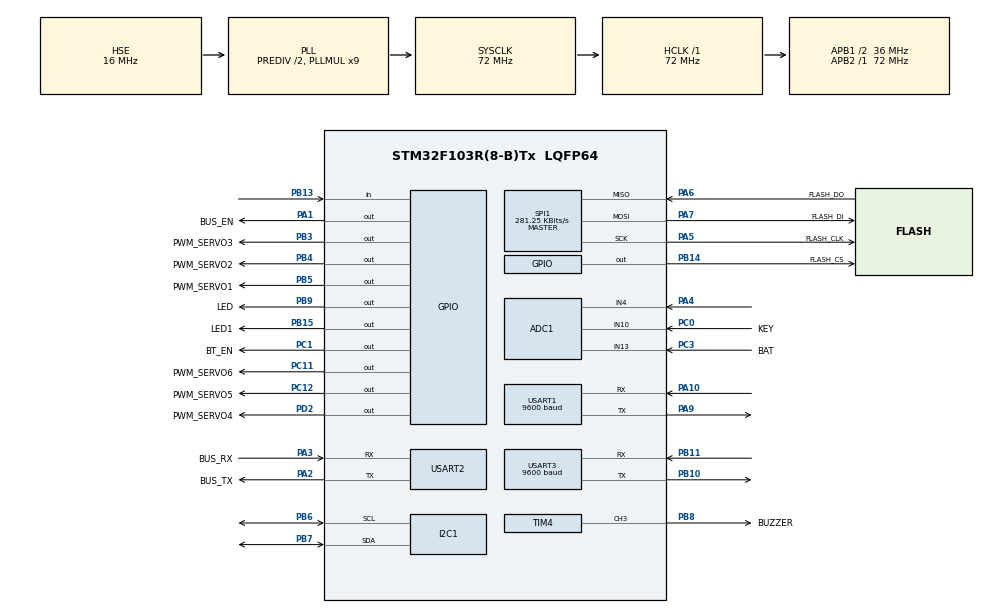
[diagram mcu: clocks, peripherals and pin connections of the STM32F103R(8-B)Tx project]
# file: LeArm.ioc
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ADC1.Channel-0\#ChannelRegularConversion=ADC_CHANNEL_13
ADC1.Channel-1\#ChannelRegularConversion=ADC_CHANNEL_10
ADC1.Channel-2\#ChannelRegularConversion=ADC_CHANNEL_4
ADC1.ContinuousConvMode=DISABLE
ADC1.DataAlign=ADC_DATAALIGN_RIGHT
ADC1.NbrOfConversion=3
ADC1.NbrOfConversionFlag=1
ADC1.Rank-0\#ChannelRegularConversion=1
ADC1.Rank-1\#ChannelRegularConversion=2
ADC1.Rank-2\#ChannelRegularConversion=3
ADC1.SamplingTime-0\#ChannelRegularConversion=ADC_SAMPLETIME_239CYCLES_5
ADC1.SamplingTime-1\#ChannelRegularConversion=ADC_SAMPLETIME_239CYCLES_5
ADC1.SamplingTime-2\#ChannelRegularConversion=ADC_SAMPLETIME_239CYCLES_5
ADC1.master=1
Dma.ADC1.1.Direction=DMA_PERIPH_TO_MEMORY
Dma.ADC1.1.Instance=DMA1_Channel1
Dma.ADC1.1.MemDataAlignment=DMA_MDATAALIGN_HALFWORD
Dma.ADC1.1.MemInc=DMA_MINC_ENABLE
Dma.ADC1.1.Mode=DMA_CIRCULAR
Dma.ADC1.1.PeriphDataAlignment=DMA_PDATAALIGN_HALFWORD
Dma.ADC1.1.PeriphInc=DMA_PINC_DISABLE
Dma.ADC1.1.Priority=DMA_PRIORITY_LOW
Dma.I2C1_RX.2.Direction=DMA_PERIPH_TO_MEMORY
Dma.I2C1_RX.2.Instance=DMA1_Channel7
Dma.I2C1_RX.2.MemDataAlignment=DMA_MDATAALIGN_BYTE
Dma.I2C1_RX.2.MemInc=DMA_MINC_ENABLE
Dma.I2C1_RX.2.Mode=DMA_NORMAL
Dma.I2C1_RX.2.PeriphDataAlignment=DMA_PDATAALIGN_BYTE
Dma.I2C1_RX.2.PeriphInc=DMA_PINC_DISABLE
Dma.I2C1_RX.2.Priority=DMA_PRIORITY_VERY_HIGH
Dma.Request0=USART1_RX
Dma.Request1=ADC1
Dma.Request2=I2C1_RX
Dma.Request3=USART3_RX
Dma.USART1_RX.0.Direction=DMA_PERIPH_TO_MEMORY
Dma.USART1_RX.0.Instance=DMA1_Channel5
Dma.USART1_RX.0.MemDataAlignment=DMA_MDATAALIGN_BYTE
Dma.USART1_RX.0.MemInc=DMA_MINC_ENABLE
Dma.USART1_RX.0.Mode=DMA_NORMAL
Dma.USART1_RX.0.PeriphDataAlignment=DMA_PDATAALIGN_BYTE
Dma.USART1_RX.0.PeriphInc=DMA_PINC_DISABLE
Dma.USART1_RX.0.Priority=DMA_PRIORITY_LOW
Dma.USART3_RX.3.Direction=DMA_PERIPH_TO_MEMORY
Dma.USART3_RX.3.Instance=DMA1_Channel3
Dma.USART3_RX.3.MemDataAlignment=DMA_MDATAALIGN_BYTE
Dma.USART3_RX.3.MemInc=DMA_MINC_ENABLE
Dma.USART3_RX.3.Mode=DMA_NORMAL
Dma.USART3_RX.3.PeriphDataAlignment=DMA_PDATAALIGN_BYTE
Dma.USART3_RX.3.PeriphInc=DMA_PINC_DISABLE
Dma.USART3_RX.3.Priority=DMA_PRIORITY_LOW
I2C1.I2C_Mode=I2C_Standard
Mcu.Family=STM32F1
Mcu.Name=STM32F103R(8-B)Tx
Mcu.Package=LQFP64
NVIC.DMA1_Channel1_IRQn=true\:0\:0\:false\:false\:true\:false\:true\:true
NVIC.DMA1_Channel3_IRQn=true\:0\:0\:false\:false\:true\:false\:true\:true
NVIC.DMA1_Channel5_IRQn=true\:0\:0\:false\:false\:true\:false\:true\:true
NVIC.DMA1_Channel7_IRQn=true\:0\:0\:false\:true\:true\:4\:false\:true\:true
NVIC.I2C1_EV_IRQn=true\:0\:0\:false\:false\:true\:true\:true\:true
NVIC.PriorityGroup=NVIC_PRIORITYGROUP_4
NVIC.TIM3_IRQn=true\:0\:0\:true\:false\:true\:true\:false\:true
NVIC.USART1_IRQn=true\:3\:0\:true\:true\:true\:1\:true\:true\:true
NVIC.USART2_IRQn=true\:2\:0\:true\:true\:true\:2\:true\:false\:true
NVIC.USART3_IRQn=true\:1\:0\:true\:true\:true\:3\:true\:true\:true
PA1.GPIO_Label=BUS_EN
PA1.GPIO_Speed=GPIO_SPEED_FREQ_HIGH
PA1.PinState=GPIO_PIN_SET
PA1.Signal=GPIO_Output
PA10.Mode=Asynchronous
PA10.Signal=USART1_RX
PA13.Mode=Serial_Wire
PA13.Signal=SYS_JTMS-SWDIO
PA14.Mode=Serial_Wire
PA14.Signal=SYS_JTCK-SWCLK
PA2.GPIO_Label=BUS_TX
PA2.Mode=Asynchronous
PA2.Signal=USART2_TX
PA3.GPIO_Label=BUS_RX
PA3.Mode=Asynchronous
PA3.Signal=USART2_RX
PA4.Signal=ADCx_IN4
PA5.GPIO_Label=FLASH_CLK
PA5.GPIO_Speed=GPIO_SPEED_FREQ_HIGH
PA5.Mode=Full_Duplex_Master
PA5.Signal=SPI1_SCK
PA6.GPIO_Label=FLASH_DO
PA6.GPIO_PuPd=GPIO_NOPULL
PA6.Mode=Full_Duplex_Master
PA6.Signal=SPI1_MISO
PA7.GPIO_Label=FLASH_DI
PA7.GPIO_Speed=GPIO_SPEED_FREQ_HIGH
PA7.Mode=Full_Duplex_Master
PA7.Signal=SPI1_MOSI
PA9.Mode=Asynchronous
PA9.Signal=USART1_TX
PB10.Mode=Asynchronous
PB10.Signal=USART3_TX
PB11.Mode=Asynchronous
PB11.Signal=USART3_RX
PB13.Signal=GPIO_Input
PB14.GPIO_Label=FLASH_CS
PB14.GPIO_PuPd=GPIO_PULLUP
PB14.GPIO_Speed=GPIO_SPEED_FREQ_LOW
PB14.PinState=GPIO_PIN_SET
PB14.Signal=GPIO_Output
PB15.GPIO_Label=LED1
PB15.PinState=GPIO_PIN_SET
PB15.Signal=GPIO_Output
PB3.GPIO_Label=PWM_SERVO3
PB3.GPIO_Speed=GPIO_SPEED_FREQ_HIGH
PB3.Signal=GPIO_Output
PB4.GPIO_Label=PWM_SERVO2
PB4.GPIO_Speed=GPIO_SPEED_FREQ_HIGH
PB4.Signal=GPIO_Output
PB5.GPIO_Label=PWM_SERVO1
PB5.GPIO_Speed=GPIO_SPEED_FREQ_HIGH
PB5.Signal=GPIO_Output
PB6.Mode=I2C
PB6.Signal=I2C1_SCL
PB7.Mode=I2C
PB7.Signal=I2C1_SDA
PB8.GPIO_Label=BUZZER
PB8.Signal=S_TIM4_CH3
PB9.GPIO_Label=LED
PB9.GPIO_ModeDefaultOutputPP=GPIO_MODE_OUTPUT_PP
PB9.GPIO_PuPd=GPIO_PULLUP
PB9.PinState=GPIO_PIN_SET
PB9.Signal=GPIO_Output
PC0.GPIO_Label=KEY
PC0.Signal=ADCx_IN10
PC1.GPIO_Label=BT_EN
PC1.GPIO_ModeDefaultOutputPP=GPIO_MODE_OUTPUT_PP
PC1.GPIO_PuPd=GPIO_NOPULL
PC1.GPIO_Speed=GPIO_SPEED_FREQ_LOW
PC1.PinState=GPIO_PIN_SET
PC1.Signal=GPIO_Output
PC11.GPIO_Label=PWM_SERVO6
PC11.GPIO_Speed=GPIO_SPEED_FREQ_HIGH
PC11.Signal=GPIO_Output
PC12.GPIO_Label=PWM_SERVO5
PC12.GPIO_Speed=GPIO_SPEED_FREQ_HIGH
PC12.Signal=GPIO_Output
PC3.GPIO_Label=BAT
PC3.Signal=ADCx_IN13
PD0-OSC_IN.Mode=HSE-External-Oscillator
PD0-OSC_IN.Signal=RCC_OSC_IN
PD1-OSC_OUT.Mode=HSE-External-Oscillator
PD1-OSC_OUT.Signal=RCC_OSC_OUT
PD2.GPIO_Label=PWM_SERVO4
PD2.GPIO_Speed=GPIO_SPEED_FREQ_HIGH
PD2.Signal=GPIO_Output
ProjectManager.HeapSize=0x200
ProjectManager.StackSize=0x400
ProjectManager.TargetToolchain=MDK-ARM V5.32
RCC.ADCPresc=RCC_ADCPCLK2_DIV6
RCC.AHBFreq_Value=72000000
RCC.APB1CLKDivider=RCC_HCLK_DIV2
RCC.APB1Freq_Value=36000000
RCC.APB1TimFreq_Value=72000000
RCC.APB2Freq_Value=72000000
RCC.APB2TimFreq_Value=72000000
RCC.HCLKFreq_Value=72000000
RCC.HSEDivPLL=RCC_HSE_PREDIV_DIV2
RCC.HSE_VALUE=16000000
RCC.PLLMUL=RCC_PLL_MUL9
RCC.PLLSourceVirtual=RCC_PLLSOURCE_HSE
RCC.SYSCLKFreq_VALUE=72000000
RCC.SYSCLKSource=RCC_SYSCLKSOURCE_PLLCLK
RCC.USBFreq_Value=72000000
SH.ADCx_IN10.0=ADC1_IN10,IN10
SH.ADCx_IN13.0=ADC1_IN13,IN13
SH.ADCx_IN4.0=ADC1_IN4,IN4
SH.S_TIM4_CH3.0=TIM4_CH3,PWM Generation3 CH3
SPI1.BaudRatePrescaler=SPI_BAUDRATEPRESCALER_256
SPI1.CLKPhase=SPI_PHASE_1EDGE
SPI1.CLKPolarity=SPI_POLARITY_LOW
SPI1.CRCCalculation=SPI_CRCCALCULATION_DISABLE
SPI1.CalculateBaudRate=281.25 KBits/s
SPI1.Direction=SPI_DIRECTION_2LINES
SPI1.Mode=SPI_MODE_MASTER
SPI1.VirtualType=VM_MASTER
TIM3.AutoReloadPreload=TIM_AUTORELOAD_PRELOAD_ENABLE
TIM3.Channel-Output\ Compare1\ No\ Output=TIM_CHANNEL_1
TIM3.Channel-Output\ Compare2\ No\ Output=TIM_CHANNEL_2
TIM3.OC1Preload=DISABLE
TIM3.OCMode_1=TIM_OCMODE_TIMING
TIM3.Period=4999
TIM3.Prescaler=71
TIM3.Pulse-Output\ Compare1\ No\ Output=0
TIM4.AutoReloadPreload=TIM_AUTORELOAD_PRELOAD_ENABLE
TIM4.Channel-PWM\ Generation3\ CH3=TIM_CHANNEL_3
TIM4.Period=4999
TIM4.Prescaler=71
USART1.BaudRate=9600
USART1.VirtualMode=VM_ASYNC
USART2.VirtualMode=VM_ASYNC
USART3.BaudRate=9600
USART3.Mode=MODE_RX
USART3.VirtualMode=VM_ASYNC
VP_TIM3_VS_ClockSourceINT.Mode=Internal
VP_TIM3_VS_no_output1.Mode=Output Compare1 No Output
VP_TIM3_VS_no_output2.Mode=Output Compare2 No Output
board=custom

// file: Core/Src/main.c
/* USER CODE BEGIN Header */
/**
  ******************************************************************************
  * @file           : main.c
  * @brief          : Main program body
  ******************************************************************************
  * @attention
  *
  * Copyright (c) 2024 STMicroelectronics.
  * All rights reserved.
  *
  * in the root directory of this software component.
  * If no LICENSE file comes with this software, it is provided AS-IS.
  *
  ******************************************************************************
  */
/* USER CODE END Header */
#include "main.h"
#include "adc.h"
#include "dma.h"
#include "i2c.h"
#include "spi.h"
#include "tim.h"
#include "usart.h"
#include "gpio.h"

/* USER CODE BEGIN Includes */

#include "global.h"
#include "stdio.h"
#include "stdlib.h"
#include "led.h"
#include "buzzer.h"
#include "robot_arm.h"
#include "wonder_mv.h"
#include "ps2_porting.h"
#include "adc_sample.h"

/* USER CODE END Includes */

/* USER CODE BEGIN PTD */
typedef enum
{
	TRACK_STATE_DETECTION = 0,
	TRACK_STATE_TRACK_Y,
	TRACK_STATE_TRACK_X,
	TRACK_STATE_APPROACH,
	TRACK_STATE_GRAB_DOWN,
	TRACK_STATE_CLAW_CLOSE,
	TRACK_STATE_LIFT,
	TRACK_STATE_PUT_BACK_DOWN,
	TRACK_STATE_CLAW_OPEN,
	TRACK_STATE_RELEASE_LIFT,
	TRACK_STATE_RETURN
} TrackStateTypeDef;

typedef enum
{
	TARGET_COLOR = 0,
	TARGET_NUMBER
} TargetKindTypeDef;

RecognitionHanleTypeDef color_results[COLOR_RESULT_COUNT];
RecognitionHanleTypeDef number_results[NUMBER_RESULT_COUNT];
RecognitionHanleTypeDef vision_result;
/* USER CODE END PTD */

/* USER CODE BEGIN PD */
#define COLOR_ID_RED                    1U
#define COLOR_ID_GREEN                  2U
#define COLOR_ID_BLUE                   3U

#define KEY_DEBOUNCE_MS                50U
#define LED1_FLASH_ON_MS              300U
#define LED1_FLASH_OFF_MS             300U
#define NUMBER_LED_FLASH_ON_MS        300U
#define NUMBER_LED_FLASH_OFF_MS       300U
#define NUMBER_BUZZER_ON_MS           100U
#define NUMBER_BUZZER_OFF_MS          100U
#define NUMBER_BUZZER_TIMES             2U

#define VISION_CAPTURE_X_CM            15.0f
#define VISION_CAPTURE_Y_CM             0.0f
#define VISION_CAPTURE_Z_CM            -3.0f

#define VISION_X_CM_PER_PIXEL          -0.100f
#define VISION_Y_CM_PER_PIXEL          -0.050f
#define CAMERA_TO_CLAW_X_OFFSET_CM       7.0f //夹爪偏移量已修正，勿更改
#define CAMERA_TO_CLAW_Y_OFFSET_CM       0.0f

#define VISION_APPROACH_Z_CM            2.0f
#define VISION_GRAB_Z_CM              -14.0f
#define VISION_TARGET_MIN_X_CM         10.0f
#define VISION_TARGET_MAX_X_CM         20.0f
#define VISION_TARGET_MIN_Y_CM        -10.0f
#define VISION_TARGET_MAX_Y_CM         10.0f

#define TRACK_CENTER_X                160.0f
#define TRACK_CENTER_Y                120.0f
#define TRACK_DEADBAND_X_PX             8.0f
#define TRACK_DEADBAND_Y_PX             8.0f
#define TRACK_STABLE_FRAMES             3U
#define TRACK_LOST_MAX_FRAMES          10U
#define TRACK_CORRECTION_GAIN           0.30f
#define TRACK_MAX_STEP_X_CM             0.5f
#define TRACK_MAX_STEP_Y_CM             0.5f

#define CLAW_OPEN_ANGLE                90.0f
#define CLAW_CLOSE_ANGLE                0.0f
/* USER CODE END PD */

/* USER CODE BEGIN PV */
TrackStateTypeDef fsm_state = TRACK_STATE_DETECTION;
TargetKindTypeDef current_target = TARGET_COLOR;
uint8_t selected_color_id = COLOR_ID_RED;
uint8_t selected_number_id = 1U;
uint8_t stable_count;
uint8_t lost_count;
uint8_t tracking_step_count;
uint8_t last_chassis_mode;
uint8_t key_last_raw_state;
uint8_t key_stable_state;
uint32_t key_last_change_tick;
float target_x;
float target_y;
float grab_x;
float grab_y;
/* USER CODE END PV */

void SystemClock_Config(void);
static void MX_NVIC_Init(void);

/* USER CODE BEGIN 0 */
int fputc(int ch,FILE *f)
{
	/* 采用轮询方式发鿿1字节数据，超时时间设置为无限等待 */
	HAL_UART_Transmit(&huart1,(uint8_t *)&ch,1,HAL_MAX_DELAY);
	return ch;
}

static float clamp_float(float value, float min_value, float max_value)
{
	if(value < min_value)
	{
		return min_value;
	}
	if(value > max_value)
	{
		return max_value;
	}
	return value;
}

static void clear_recognition_result(RecognitionHanleTypeDef* result)
{
	result->id = 0;
	result->position.x = 0;
	result->position.y = 0;
	result->position.w = 0;
	result->position.h = 0;
}

static void reset_tracking_state(void)
{
	for(uint8_t i = 0; i < COLOR_RESULT_COUNT; i++)
	{
		clear_recognition_result(&color_results[i]);
	}
	for(uint8_t i = 0; i < NUMBER_RESULT_COUNT; i++)
	{
		clear_recognition_result(&number_results[i]);
	}
	clear_recognition_result(&vision_result);
	stable_count = 0;
	lost_count = 0;
	tracking_step_count = 0;
	target_x = VISION_CAPTURE_X_CM;
	target_y = VISION_CAPTURE_Y_CM;
	grab_x = VISION_CAPTURE_X_CM;
	grab_y = VISION_CAPTURE_Y_CM;
}

static void reset_tracking_sequence(void)
{
	current_target = TARGET_COLOR;
	reset_tracking_state();
}

static void move_to_capture_pose(uint32_t time_ms)
{
	robot_arm_coordinate_set(VISION_CAPTURE_X_CM, VISION_CAPTURE_Y_CM, VISION_CAPTURE_Z_CM, 0, -90, 90, time_ms);
}

static void update_grab_target(void)
{
	grab_x = clamp_float(target_x + CAMERA_TO_CLAW_X_OFFSET_CM, VISION_TARGET_MIN_X_CM, VISION_TARGET_MAX_X_CM);
	grab_y = clamp_float(target_y + CAMERA_TO_CLAW_Y_OFFSET_CM, VISION_TARGET_MIN_Y_CM, VISION_TARGET_MAX_Y_CM);
}

static void update_selected_color_led(void)
{
	switch(selected_color_id)
	{
		case COLOR_ID_RED:
			led_on(2);
			break;

		case COLOR_ID_GREEN:
			led_flash(2, LED1_FLASH_ON_MS, LED1_FLASH_OFF_MS, 0);
			break;

		case COLOR_ID_BLUE:
			led_off(2);
			break;

		default:
			selected_color_id = COLOR_ID_RED;
			led_on(2);
			break;
	}
}

static void update_selected_number_indicator(uint8_t play_buzzer)
{
	switch(selected_number_id)
	{
		case 1:
			led_on(1);
			if(play_buzzer)
			{
				buzzer_off();
			}
			break;

		case 2:
			led_flash(1, NUMBER_LED_FLASH_ON_MS, NUMBER_LED_FLASH_OFF_MS, 0);
			if(play_buzzer)
			{
				buzzer_off();
			}
			break;

		case 3:
			led_off(1);
			if(play_buzzer)
			{
				buzzer_off();
			}
			break;

		case 4:
			led_on(1);
			if(play_buzzer)
			{
				buzzer_toggle(NUMBER_BUZZER_ON_MS, NUMBER_BUZZER_OFF_MS, NUMBER_BUZZER_TIMES);
			}
			break;

		case 5:
			led_flash(1, NUMBER_LED_FLASH_ON_MS, NUMBER_LED_FLASH_OFF_MS, 0);
			if(play_buzzer)
			{
				buzzer_toggle(NUMBER_BUZZER_ON_MS, NUMBER_BUZZER_OFF_MS, NUMBER_BUZZER_TIMES);
			}
			break;

		default:
			selected_number_id = 1U;
			led_on(1);
			if(play_buzzer)
			{
				buzzer_off();
			}
			break;
	}
}

static void select_next_color(void)
{
	switch(selected_color_id)
	{
		case COLOR_ID_RED:
			selected_color_id = COLOR_ID_GREEN;
			break;

		case COLOR_ID_GREEN:
			selected_color_id = COLOR_ID_BLUE;
			break;

		default:
			selected_color_id = COLOR_ID_RED;
			break;
	}

	update_selected_color_led();
}

static void select_next_number(void)
{
	selected_number_id++;
	if(selected_number_id > NUMBER_RESULT_COUNT)
	{
		selected_number_id = 1U;
	}

	update_selected_number_indicator(1);
}

static void scan_adc_key_select(void)
{
	uint8_t raw_state = get_button_state();
	uint32_t now = HAL_GetTick();

	if(raw_state != key_last_raw_state)
	{
		key_last_raw_state = raw_state;
		key_last_change_tick = now;
	}

	if((now - key_last_change_tick) >= KEY_DEBOUNCE_MS && raw_state != key_stable_state)
	{
		key_stable_state = raw_state;
		if(key_stable_state == 1U)
		{
			select_next_color();
		}
		else if(key_stable_state == 2U)
		{
			select_next_number();
		}
	}
}

static uint8_t is_valid_number_id(uint8_t id)
{
	return id >= 1U && id <= 5U;
}

static uint8_t is_valid_color_id(uint8_t id)
{
	return id >= COLOR_ID_RED && id <= COLOR_ID_BLUE;
}

static uint8_t read_current_target(void)
{
	if(ps2_is_chassis_mode())
	{
		return 0;
	}

	if(!wonder_mv_color_number_recognition(color_results, number_results))
	{
		return 0;
	}

	if(current_target == TARGET_COLOR)
	{
		if(!is_valid_color_id(selected_color_id))
		{
			selected_color_id = COLOR_ID_RED;
		}

		if(color_results[selected_color_id - 1U].id != selected_color_id)
		{
			return 0;
		}

		vision_result = color_results[selected_color_id - 1U];
		return 1;
	}

	if(!is_valid_number_id(selected_number_id))
	{
		selected_number_id = 1U;
	}

	if(number_results[selected_number_id - 1U].id == selected_number_id)
	{
		vision_result = number_results[selected_number_id - 1U];
		return 1;
	}

	return 0;
}

static void advance_to_next_target(void)
{
	if(current_target == TARGET_COLOR)
	{
		current_target = TARGET_NUMBER;
	}
	else
	{
		current_target = TARGET_COLOR;
	}

	reset_tracking_state();
}

static void handle_tracking_loss(void)
{
	stable_count = 0;

	if(tracking_step_count > 0U)
	{
		lost_count = 0;
		update_grab_target();
		fsm_state = TRACK_STATE_APPROACH;
		return;
	}

	lost_count++;

	if(lost_count >= TRACK_LOST_MAX_FRAMES)
	{
		reset_tracking_state();
		move_to_capture_pose(500);
		HAL_Delay(600);
		fsm_state = TRACK_STATE_DETECTION;
	}
	else
	{
		HAL_Delay(20);
	}
}

/* USER CODE END 0 */

int main(void)
{

  /* MCU Configuration--------------------------------------------------------*/

  /* Reset of all peripherals, Initializes the Flash interface and the Systick. */
  HAL_Init();

  /* Configure the system clock */
  SystemClock_Config();

  /* USER CODE BEGIN SysInit */
  __HAL_RCC_I2C1_CLK_ENABLE();
  __HAL_RCC_DMA1_CLK_ENABLE();
  /* USER CODE END SysInit */

  /* Initialize all configured peripherals */
  MX_GPIO_Init();
  MX_DMA_Init();
  MX_TIM3_Init();
  MX_USART3_UART_Init();
  MX_SPI1_Init();
  MX_USART1_UART_Init();
  MX_ADC1_Init();
  MX_I2C1_Init();
  MX_TIM4_Init();
  MX_USART2_UART_Init();

  /* Initialize interrupts */
  MX_NVIC_Init();
  /* USER CODE BEGIN 2 */
  adc_sample_init();
  adc_sample_handler();
  led_init();
  key_last_raw_state = get_button_state();
  key_stable_state = key_last_raw_state;
  key_last_change_tick = HAL_GetTick();
  update_selected_color_led();
  update_selected_number_indicator(0);
  robot_arm_init();
  buzzer_init();
  wonder_mv_init();
  ps2_init();
  reset_tracking_sequence();
  move_to_capture_pose(500);
  robot_arm_claw_set(CLAW_OPEN_ANGLE, 0);
  HAL_Delay(1000);
  /* USER CODE END 2 */

  /* Infinite loop */
  while (1)
  {

    /* USER CODE BEGIN 3 */
	uint8_t chassis_mode;

	ps2_handler();
	chassis_mode = ps2_is_chassis_mode();
	if(chassis_mode)
	{
		if(!last_chassis_mode)
		{
			i2c1_recover();
			reset_tracking_state();
			fsm_state = TRACK_STATE_DETECTION;
			last_chassis_mode = 1;
		}
		HAL_Delay(10);
		continue;
	}

	if(last_chassis_mode)
	{
		i2c1_recover();
		HAL_Delay(100);
		reset_tracking_state();
		fsm_state = TRACK_STATE_DETECTION;
		last_chassis_mode = 0;
	}

	switch(fsm_state)
	{
	  case TRACK_STATE_DETECTION:
		  scan_adc_key_select();
		  if(read_current_target())
		  {
			  HAL_Delay(100);
			  if(read_current_target())
			  {
				  target_x = VISION_CAPTURE_X_CM;
				  target_y = VISION_CAPTURE_Y_CM;
				  stable_count = 0;
				  lost_count = 0;
				  tracking_step_count = 0;
				  fsm_state = TRACK_STATE_TRACK_Y;
			  }
		  }
		  HAL_Delay(10);
		  break;

	  case TRACK_STATE_TRACK_Y:
	  {
		  float pixel_dx;
		  float step_y;

		  if(!read_current_target())
		  {
			  handle_tracking_loss();
			  break;
		  }

		  lost_count = 0;
		  pixel_dx = (float)vision_result.position.x - TRACK_CENTER_X;

		  if(pixel_dx >= -TRACK_DEADBAND_X_PX && pixel_dx <= TRACK_DEADBAND_X_PX)
		  {
			  stable_count++;
			  if(stable_count >= TRACK_STABLE_FRAMES)
			  {
				  stable_count = 0;
				  fsm_state = TRACK_STATE_TRACK_X;
			  }
			  HAL_Delay(20);
			  break;
		  }

		  stable_count = 0;
		  step_y = pixel_dx * VISION_Y_CM_PER_PIXEL * TRACK_CORRECTION_GAIN;
		  step_y = clamp_float(step_y, -TRACK_MAX_STEP_Y_CM, TRACK_MAX_STEP_Y_CM);
		  target_y = clamp_float(target_y + step_y, VISION_TARGET_MIN_Y_CM, VISION_TARGET_MAX_Y_CM);
		  if(tracking_step_count < 255U)
		  {
			  tracking_step_count++;
		  }
		  robot_arm_coordinate_set(target_x, target_y, VISION_CAPTURE_Z_CM, 0, -90, 90, 80);
		  HAL_Delay(90);
		  break;
	  }

	  case TRACK_STATE_TRACK_X:
	  {
		  float pixel_dy;
		  float step_x;

		  if(!read_current_target())
		  {
			  handle_tracking_loss();
			  break;
		  }

		  lost_count = 0;
		  pixel_dy = (float)vision_result.position.y - TRACK_CENTER_Y;

		  if(pixel_dy >= -TRACK_DEADBAND_Y_PX && pixel_dy <= TRACK_DEADBAND_Y_PX)
		  {
			  stable_count++;
			  if(stable_count >= TRACK_STABLE_FRAMES)
			  {
				  update_grab_target();
				  fsm_state = TRACK_STATE_APPROACH;
			  }
			  HAL_Delay(20);
			  break;
		  }

		  stable_count = 0;
		  step_x = pixel_dy * VISION_X_CM_PER_PIXEL * TRACK_CORRECTION_GAIN;
		  step_x = clamp_float(step_x, -TRACK_MAX_STEP_X_CM, TRACK_MAX_STEP_X_CM);
		  target_x = clamp_float(target_x + step_x, VISION_TARGET_MIN_X_CM, VISION_TARGET_MAX_X_CM);
		  if(tracking_step_count < 255U)
		  {
			  tracking_step_count++;
		  }
		  robot_arm_coordinate_set(target_x, target_y, VISION_CAPTURE_Z_CM, 0, -90, 90, 80);
		  HAL_Delay(90);
		  break;
	  }

	  case TRACK_STATE_APPROACH:
		  robot_arm_coordinate_set(grab_x, grab_y, VISION_APPROACH_Z_CM, 0, -90, 90, 1000);
		  HAL_Delay(1100);
		  fsm_state = TRACK_STATE_GRAB_DOWN;
		  break;

	  case TRACK_STATE_GRAB_DOWN:
		  robot_arm_coordinate_set(grab_x, grab_y, VISION_GRAB_Z_CM, 0, -90, 90, 1000);
		  HAL_Delay(1100);
		  fsm_state = TRACK_STATE_CLAW_CLOSE;
		  break;

	  case TRACK_STATE_CLAW_CLOSE:
		  robot_arm_claw_set(CLAW_CLOSE_ANGLE, 200);
		  HAL_Delay(300);
		  fsm_state = TRACK_STATE_LIFT;
		  break;

	  case TRACK_STATE_LIFT:
		  robot_arm_coordinate_set(grab_x, grab_y, VISION_CAPTURE_Z_CM, 0, -90, 90, 1000);
		  HAL_Delay(1100);
		  fsm_state = TRACK_STATE_PUT_BACK_DOWN;
		  break;

	  case TRACK_STATE_PUT_BACK_DOWN:
		  robot_arm_coordinate_set(grab_x, grab_y, VISION_GRAB_Z_CM, 0, -90, 90, 1000);
		  HAL_Delay(1100);
		  fsm_state = TRACK_STATE_CLAW_OPEN;
		  break;

	  case TRACK_STATE_CLAW_OPEN:
		  robot_arm_claw_set(CLAW_OPEN_ANGLE, 0);
		  HAL_Delay(500);
		  fsm_state = TRACK_STATE_RELEASE_LIFT;
		  break;

	  case TRACK_STATE_RELEASE_LIFT:
		  robot_arm_coordinate_set(grab_x, grab_y, VISION_CAPTURE_Z_CM, 0, -90, 90, 1000);
		  HAL_Delay(1100);
		  fsm_state = TRACK_STATE_RETURN;
		  break;

	  case TRACK_STATE_RETURN:
		  move_to_capture_pose(500);
		  HAL_Delay(600);
		  advance_to_next_target();
		  fsm_state = TRACK_STATE_DETECTION;
		  break;

	  default:
		  reset_tracking_sequence();
		  move_to_capture_pose(500);
		  HAL_Delay(600);
		  fsm_state = TRACK_STATE_DETECTION;
		  break;
	}

  }
  /* USER CODE END 3 */
}

void SystemClock_Config(void)
{
  RCC_OscInitTypeDef RCC_OscInitStruct = {0};
  RCC_ClkInitTypeDef RCC_ClkInitStruct = {0};
  RCC_PeriphCLKInitTypeDef PeriphClkInit = {0};

  /** Initializes the RCC Oscillators according to the specified parameters
  * in the RCC_OscInitTypeDef structure.
  */
  RCC_OscInitStruct.OscillatorType = RCC_OSCILLATORTYPE_HSE;
  RCC_OscInitStruct.HSEState = RCC_HSE_ON;
  RCC_OscInitStruct.HSEPredivValue = RCC_HSE_PREDIV_DIV2;
  RCC_OscInitStruct.HSIState = RCC_HSI_ON;
  RCC_OscInitStruct.PLL.PLLState = RCC_PLL_ON;
  RCC_OscInitStruct.PLL.PLLSource = RCC_PLLSOURCE_HSE;
  RCC_OscInitStruct.PLL.PLLMUL = RCC_PLL_MUL9;
  if (HAL_RCC_OscConfig(&RCC_OscInitStruct) != HAL_OK)
  {
    Error_Handler();
  }

  /** Initializes the CPU, AHB and APB buses clocks
  */
  RCC_ClkInitStruct.ClockType = RCC_CLOCKTYPE_HCLK|RCC_CLOCKTYPE_SYSCLK
                              |RCC_CLOCKTYPE_PCLK1|RCC_CLOCKTYPE_PCLK2;
  RCC_ClkInitStruct.SYSCLKSource = RCC_SYSCLKSOURCE_PLLCLK;
  RCC_ClkInitStruct.AHBCLKDivider = RCC_SYSCLK_DIV1;
  RCC_ClkInitStruct.APB1CLKDivider = RCC_HCLK_DIV2;
  RCC_ClkInitStruct.APB2CLKDivider = RCC_HCLK_DIV1;

  if (HAL_RCC_ClockConfig(&RCC_ClkInitStruct, FLASH_LATENCY_2) != HAL_OK)
  {
    Error_Handler();
  }
  PeriphClkInit.PeriphClockSelection = RCC_PERIPHCLK_ADC;
  PeriphClkInit.AdcClockSelection = RCC_ADCPCLK2_DIV6;
  if (HAL_RCCEx_PeriphCLKConfig(&PeriphClkInit) != HAL_OK)
  {
    Error_Handler();
  }
}

/**
  * @brief NVIC Configuration.
  * @retval None
  */
static void MX_NVIC_Init(void)
{
  /* USART1_IRQn interrupt configuration */
  HAL_NVIC_SetPriority(USART1_IRQn, 3, 0);
  HAL_NVIC_EnableIRQ(USART1_IRQn);
  /* USART2_IRQn interrupt configuration */
  HAL_NVIC_SetPriority(USART2_IRQn, 2, 0);
  HAL_NVIC_EnableIRQ(USART2_IRQn);
  /* USART3_IRQn interrupt configuration */
  HAL_NVIC_SetPriority(USART3_IRQn, 1, 0);
  HAL_NVIC_EnableIRQ(USART3_IRQn);
  /* DMA1_Channel7_IRQn interrupt configuration */
  HAL_NVIC_SetPriority(DMA1_Channel7_IRQn, 0, 0);
  HAL_NVIC_EnableIRQ(DMA1_Channel7_IRQn);
}

void Error_Handler(void)
{
  __disable_irq();
  while (1)
  {
  }
}
